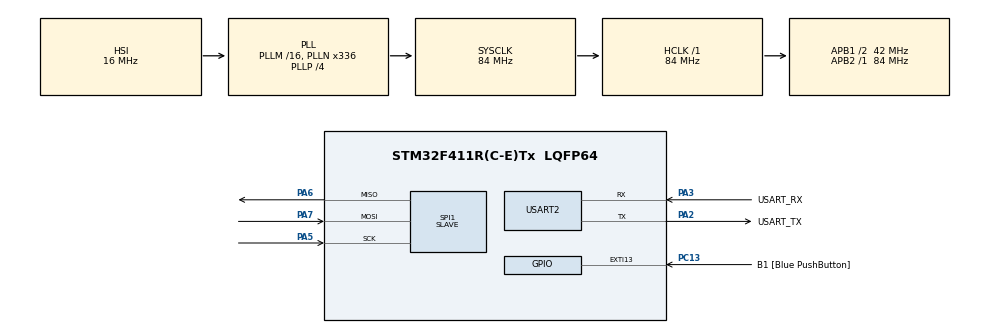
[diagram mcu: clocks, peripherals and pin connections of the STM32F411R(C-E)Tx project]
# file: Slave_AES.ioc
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Mcu.Family=STM32F4
Mcu.Name=STM32F411R(C-E)Tx
Mcu.Package=LQFP64
NVIC.PriorityGroup=NVIC_PRIORITYGROUP_0
PA13.GPIO_Label=TMS
PA13.Mode=Serial_Wire
PA13.Signal=SYS_JTMS-SWDIO
PA14.GPIO_Label=TCK
PA14.Mode=Serial_Wire
PA14.Signal=SYS_JTCK-SWCLK
PA2.GPIO_Label=USART_TX
PA2.Mode=Asynchronous
PA2.Signal=USART2_TX
PA3.GPIO_Label=USART_RX
PA3.Mode=Asynchronous
PA3.Signal=USART2_RX
PA5.Mode=Full_Duplex_Slave
PA5.Signal=SPI1_SCK
PA6.Mode=Full_Duplex_Slave
PA6.Signal=SPI1_MISO
PA7.Mode=Full_Duplex_Slave
PA7.Signal=SPI1_MOSI
PB3.GPIO_Label=SWO
PB3.Signal=SYS_JTDO-SWO
PC13-ANTI_TAMP.GPIO_Label=B1 [Blue PushButton]
PC13-ANTI_TAMP.GPIO_ModeDefaultEXTI=GPIO_MODE_IT_FALLING
PC13-ANTI_TAMP.Signal=GPXTI13
PC14-OSC32_IN.Mode=LSE-External-Oscillator
PC14-OSC32_IN.Signal=RCC_OSC32_IN
PC15-OSC32_OUT.Mode=LSE-External-Oscillator
PC15-OSC32_OUT.Signal=RCC_OSC32_OUT
PH0\ -\ OSC_IN.Mode=HSE-External-Clock-Source
PH0\ -\ OSC_IN.Signal=RCC_OSC_IN
PH1\ -\ OSC_OUT.Mode=HSE-External-Clock-Source
PH1\ -\ OSC_OUT.Signal=RCC_OSC_OUT
ProjectManager.HeapSize=0x200
ProjectManager.StackSize=0x400
ProjectManager.TargetToolchain=EWARM V8.32
RCC.48MHZClocksFreq_Value=84000000
RCC.AHBFreq_Value=84000000
RCC.APB1CLKDivider=RCC_HCLK_DIV2
RCC.APB1Freq_Value=42000000
RCC.APB1TimFreq_Value=84000000
RCC.APB2Freq_Value=84000000
RCC.APB2TimFreq_Value=84000000
RCC.CortexFreq_Value=84000000
RCC.FLatency-AdvancedSettings=FLASH_LATENCY_2
RCC.HCLKFreq_Value=84000000
RCC.HSE_VALUE=8000000
RCC.HSI_VALUE=16000000
RCC.PLLN=336
RCC.PLLP=RCC_PLLP_DIV4
RCC.SYSCLKFreq_VALUE=84000000
RCC.SYSCLKSource=RCC_SYSCLKSOURCE_PLLCLK
RCC.VCOOutputFreq_Value=336000000
SPI1.Direction=SPI_DIRECTION_2LINES
SPI1.Mode=SPI_MODE_SLAVE
SPI1.VirtualType=VM_SLAVE
USART2.VirtualMode=VM_ASYNC
board=NUCLEO-F411RE

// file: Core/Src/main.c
/* USER CODE BEGIN Header */
/**
  ******************************************************************************
  * @file           : main.c
  * @brief          : Main program body
  ******************************************************************************
  * @attention
  *
  * Copyright (c) 2022 STMicroelectronics.
  * All rights reserved.
  *
  * This software is licensed under terms that can be found in the LICENSE file
  * in the root directory of this software component.
  * If no LICENSE file comes with this software, it is provided AS-IS.
  *
  ******************************************************************************
  */
/* USER CODE END Header */
#include "main.h"

/* USER CODE BEGIN Includes */
#include <stdio.h>
#include <stdlib.h>
#include <string.h>
/* USER CODE END Includes */

/* USER CODE BEGIN PTD */
#ifdef __GNUC__
  /* With GCC, small printf (option LD Linker->Libraries->Small printf
     set to 'Yes') calls __io_putchar() */
  #define PUTCHAR_PROTOTYPE int __io_putchar(int ch)
#else
  #define PUTCHAR_PROTOTYPE int fputc(int ch, FILE *f)
#endif /* __GNUC__ */

/* USER CODE END PTD */

/* USER CODE BEGIN PD */

static const unsigned char multGalois0x01[256] = {
0x0, 0x1, 0x2, 0x3, 0x4, 0x5, 0x6, 0x7, 0x8, 0x9, 0xa, 0xb, 0xc, 0xd, 0xe, 0xf,
0x10, 0x11, 0x12, 0x13, 0x14, 0x15, 0x16, 0x17, 0x18, 0x19, 0x1a, 0x1b, 0x1c, 0x1d, 0x1e, 0x1f,
0x20, 0x21, 0x22, 0x23, 0x24, 0x25, 0x26, 0x27, 0x28, 0x29, 0x2a, 0x2b, 0x2c, 0x2d, 0x2e, 0x2f,
0x30, 0x31, 0x32, 0x33, 0x34, 0x35, 0x36, 0x37, 0x38, 0x39, 0x3a, 0x3b, 0x3c, 0x3d, 0x3e, 0x3f,
0x40, 0x41, 0x42, 0x43, 0x44, 0x45, 0x46, 0x47, 0x48, 0x49, 0x4a, 0x4b, 0x4c, 0x4d, 0x4e, 0x4f,
0x50, 0x51, 0x52, 0x53, 0x54, 0x55, 0x56, 0x57, 0x58, 0x59, 0x5a, 0x5b, 0x5c, 0x5d, 0x5e, 0x5f,
0x60, 0x61, 0x62, 0x63, 0x64, 0x65, 0x66, 0x67, 0x68, 0x69, 0x6a, 0x6b, 0x6c, 0x6d, 0x6e, 0x6f,
0x70, 0x71, 0x72, 0x73, 0x74, 0x75, 0x76, 0x77, 0x78, 0x79, 0x7a, 0x7b, 0x7c, 0x7d, 0x7e, 0x7f,
0x80, 0x81, 0x82, 0x83, 0x84, 0x85, 0x86, 0x87, 0x88, 0x89, 0x8a, 0x8b, 0x8c, 0x8d, 0x8e, 0x8f,
0x90, 0x91, 0x92, 0x93, 0x94, 0x95, 0x96, 0x97, 0x98, 0x99, 0x9a, 0x9b, 0x9c, 0x9d, 0x9e, 0x9f,
0xa0, 0xa1, 0xa2, 0xa3, 0xa4, 0xa5, 0xa6, 0xa7, 0xa8, 0xa9, 0xaa, 0xab, 0xac, 0xad, 0xae, 0xaf,
0xb0, 0xb1, 0xb2, 0xb3, 0xb4, 0xb5, 0xb6, 0xb7, 0xb8, 0xb9, 0xba, 0xbb, 0xbc, 0xbd, 0xbe, 0xbf,
0xc0, 0xc1, 0xc2, 0xc3, 0xc4, 0xc5, 0xc6, 0xc7, 0xc8, 0xc9, 0xca, 0xcb, 0xcc, 0xcd, 0xce, 0xcf,
0xd0, 0xd1, 0xd2, 0xd3, 0xd4, 0xd5, 0xd6, 0xd7, 0xd8, 0xd9, 0xda, 0xdb, 0xdc, 0xdd, 0xde, 0xdf,
0xe0, 0xe1, 0xe2, 0xe3, 0xe4, 0xe5, 0xe6, 0xe7, 0xe8, 0xe9, 0xea, 0xeb, 0xec, 0xed, 0xee, 0xef,
0xf0, 0xf1, 0xf2, 0xf3, 0xf4, 0xf5, 0xf6, 0xf7, 0xf8, 0xf9, 0xfa, 0xfb, 0xfc, 0xfd, 0xfe, 0xff,
};

static const unsigned char multGalois0x02[256] = {
0x0, 0x2, 0x4, 0x6, 0x8, 0xa, 0xc, 0xe, 0x10, 0x12, 0x14, 0x16, 0x18, 0x1a, 0x1c, 0x1e,
0x20, 0x22, 0x24, 0x26, 0x28, 0x2a, 0x2c, 0x2e, 0x30, 0x32, 0x34, 0x36, 0x38, 0x3a, 0x3c, 0x3e,
0x40, 0x42, 0x44, 0x46, 0x48, 0x4a, 0x4c, 0x4e, 0x50, 0x52, 0x54, 0x56, 0x58, 0x5a, 0x5c, 0x5e,
0x60, 0x62, 0x64, 0x66, 0x68, 0x6a, 0x6c, 0x6e, 0x70, 0x72, 0x74, 0x76, 0x78, 0x7a, 0x7c, 0x7e,
0x80, 0x82, 0x84, 0x86, 0x88, 0x8a, 0x8c, 0x8e, 0x90, 0x92, 0x94, 0x96, 0x98, 0x9a, 0x9c, 0x9e,
0xa0, 0xa2, 0xa4, 0xa6, 0xa8, 0xaa, 0xac, 0xae, 0xb0, 0xb2, 0xb4, 0xb6, 0xb8, 0xba, 0xbc, 0xbe,
0xc0, 0xc2, 0xc4, 0xc6, 0xc8, 0xca, 0xcc, 0xce, 0xd0, 0xd2, 0xd4, 0xd6, 0xd8, 0xda, 0xdc, 0xde,
0xe0, 0xe2, 0xe4, 0xe6, 0xe8, 0xea, 0xec, 0xee, 0xf0, 0xf2, 0xf4, 0xf6, 0xf8, 0xfa, 0xfc, 0xfe,
0x1b, 0x19, 0x1f, 0x1d, 0x13, 0x11, 0x17, 0x15, 0xb, 0x9, 0xf, 0xd, 0x3, 0x1, 0x7, 0x5,
0x3b, 0x39, 0x3f, 0x3d, 0x33, 0x31, 0x37, 0x35, 0x2b, 0x29, 0x2f, 0x2d, 0x23, 0x21, 0x27, 0x25,
0x5b, 0x59, 0x5f, 0x5d, 0x53, 0x51, 0x57, 0x55, 0x4b, 0x49, 0x4f, 0x4d, 0x43, 0x41, 0x47, 0x45,
0x7b, 0x79, 0x7f, 0x7d, 0x73, 0x71, 0x77, 0x75, 0x6b, 0x69, 0x6f, 0x6d, 0x63, 0x61, 0x67, 0x65,
0x9b, 0x99, 0x9f, 0x9d, 0x93, 0x91, 0x97, 0x95, 0x8b, 0x89, 0x8f, 0x8d, 0x83, 0x81, 0x87, 0x85,
0xbb, 0xb9, 0xbf, 0xbd, 0xb3, 0xb1, 0xb7, 0xb5, 0xab, 0xa9, 0xaf, 0xad, 0xa3, 0xa1, 0xa7, 0xa5,
0xdb, 0xd9, 0xdf, 0xdd, 0xd3, 0xd1, 0xd7, 0xd5, 0xcb, 0xc9, 0xcf, 0xcd, 0xc3, 0xc1, 0xc7, 0xc5,
0xfb, 0xf9, 0xff, 0xfd, 0xf3, 0xf1, 0xf7, 0xf5, 0xeb, 0xe9, 0xef, 0xed, 0xe3, 0xe1, 0xe7, 0xe5,
};

static const unsigned char multGalois0x03[256] = {
0x0, 0x3, 0x6, 0x5, 0xc, 0xf, 0xa, 0x9, 0x18, 0x1b, 0x1e, 0x1d, 0x14, 0x17, 0x12, 0x11,
0x30, 0x33, 0x36, 0x35, 0x3c, 0x3f, 0x3a, 0x39, 0x28, 0x2b, 0x2e, 0x2d, 0x24, 0x27, 0x22, 0x21,
0x60, 0x63, 0x66, 0x65, 0x6c, 0x6f, 0x6a, 0x69, 0x78, 0x7b, 0x7e, 0x7d, 0x74, 0x77, 0x72, 0x71,
0x50, 0x53, 0x56, 0x55, 0x5c, 0x5f, 0x5a, 0x59, 0x48, 0x4b, 0x4e, 0x4d, 0x44, 0x47, 0x42, 0x41,
0xc0, 0xc3, 0xc6, 0xc5, 0xcc, 0xcf, 0xca, 0xc9, 0xd8, 0xdb, 0xde, 0xdd, 0xd4, 0xd7, 0xd2, 0xd1,
0xf0, 0xf3, 0xf6, 0xf5, 0xfc, 0xff, 0xfa, 0xf9, 0xe8, 0xeb, 0xee, 0xed, 0xe4, 0xe7, 0xe2, 0xe1,
0xa0, 0xa3, 0xa6, 0xa5, 0xac, 0xaf, 0xaa, 0xa9, 0xb8, 0xbb, 0xbe, 0xbd, 0xb4, 0xb7, 0xb2, 0xb1,
0x90, 0x93, 0x96, 0x95, 0x9c, 0x9f, 0x9a, 0x99, 0x88, 0x8b, 0x8e, 0x8d, 0x84, 0x87, 0x82, 0x81,
0x9b, 0x98, 0x9d, 0x9e, 0x97, 0x94, 0x91, 0x92, 0x83, 0x80, 0x85, 0x86, 0x8f, 0x8c, 0x89, 0x8a,
0xab, 0xa8, 0xad, 0xae, 0xa7, 0xa4, 0xa1, 0xa2, 0xb3, 0xb0, 0xb5, 0xb6, 0xbf, 0xbc, 0xb9, 0xba,
0xfb, 0xf8, 0xfd, 0xfe, 0xf7, 0xf4, 0xf1, 0xf2, 0xe3, 0xe0, 0xe5, 0xe6, 0xef, 0xec, 0xe9, 0xea,
0xcb, 0xc8, 0xcd, 0xce, 0xc7, 0xc4, 0xc1, 0xc2, 0xd3, 0xd0, 0xd5, 0xd6, 0xdf, 0xdc, 0xd9, 0xda,
0x5b, 0x58, 0x5d, 0x5e, 0x57, 0x54, 0x51, 0x52, 0x43, 0x40, 0x45, 0x46, 0x4f, 0x4c, 0x49, 0x4a,
0x6b, 0x68, 0x6d, 0x6e, 0x67, 0x64, 0x61, 0x62, 0x73, 0x70, 0x75, 0x76, 0x7f, 0x7c, 0x79, 0x7a,
0x3b, 0x38, 0x3d, 0x3e, 0x37, 0x34, 0x31, 0x32, 0x23, 0x20, 0x25, 0x26, 0x2f, 0x2c, 0x29, 0x2a,
0xb, 0x8, 0xd, 0xe, 0x7, 0x4, 0x1, 0x2, 0x13, 0x10, 0x15, 0x16, 0x1f, 0x1c, 0x19, 0x1a,
};

static const unsigned char sbox[256] = {
    0x63, 0x7c, 0x77, 0x7b, 0xf2, 0x6b, 0x6f, 0xc5, 0x30, 0x01, 0x67, 0x2b, 0xfe, 0xd7, 0xab, 0x76,
    0xca, 0x82, 0xc9, 0x7d, 0xfa, 0x59, 0x47, 0xf0, 0xad, 0xd4, 0xa2, 0xaf, 0x9c, 0xa4, 0x72, 0xc0,
    0xb7, 0xfd, 0x93, 0x26, 0x36, 0x3f, 0xf7, 0xcc, 0x34, 0xa5, 0xe5, 0xf1, 0x71, 0xd8, 0x31, 0x15,
    0x04, 0xc7, 0x23, 0xc3, 0x18, 0x96, 0x05, 0x9a, 0x07, 0x12, 0x80, 0xe2, 0xeb, 0x27, 0xb2, 0x75,
    0x09, 0x83, 0x2c, 0x1a, 0x1b, 0x6e, 0x5a, 0xa0, 0x52, 0x3b, 0xd6, 0xb3, 0x29, 0xe3, 0x2f, 0x84,
    0x53, 0xd1, 0x00, 0xed, 0x20, 0xfc, 0xb1, 0x5b, 0x6a, 0xcb, 0xbe, 0x39, 0x4a, 0x4c, 0x58, 0xcf,
    0xd0, 0xef, 0xaa, 0xfb, 0x43, 0x4d, 0x33, 0x85, 0x45, 0xf9, 0x02, 0x7f, 0x50, 0x3c, 0x9f, 0xa8,
    0x51, 0xa3, 0x40, 0x8f, 0x92, 0x9d, 0x38, 0xf5, 0xbc, 0xb6, 0xda, 0x21, 0x10, 0xff, 0xf3, 0xd2,
    0xcd, 0x0c, 0x13, 0xec, 0x5f, 0x97, 0x44, 0x17, 0xc4, 0xa7, 0x7e, 0x3d, 0x64, 0x5d, 0x19, 0x73,
    0x60, 0x81, 0x4f, 0xdc, 0x22, 0x2a, 0x90, 0x88, 0x46, 0xee, 0xb8, 0x14, 0xde, 0x5e, 0x0b, 0xdb,
    0xe0, 0x32, 0x3a, 0x0a, 0x49, 0x06, 0x24, 0x5c, 0xc2, 0xd3, 0xac, 0x62, 0x91, 0x95, 0xe4, 0x79,
    0xe7, 0xc8, 0x37, 0x6d, 0x8d, 0xd5, 0x4e, 0xa9, 0x6c, 0x56, 0xf4, 0xea, 0x65, 0x7a, 0xae, 0x08,
    0xba, 0x78, 0x25, 0x2e, 0x1c, 0xa6, 0xb4, 0xc6, 0xe8, 0xdd, 0x74, 0x1f, 0x4b, 0xbd, 0x8b, 0x8a,
    0x70, 0x3e, 0xb5, 0x66, 0x48, 0x03, 0xf6, 0x0e, 0x61, 0x35, 0x57, 0xb9, 0x86, 0xc1, 0x1d, 0x9e,
    0xe1, 0xf8, 0x98, 0x11, 0x69, 0xd9, 0x8e, 0x94, 0x9b, 0x1e, 0x87, 0xe9, 0xce, 0x55, 0x28, 0xdf,
    0x8c, 0xa1, 0x89, 0x0d, 0xbf, 0xe6, 0x42, 0x68, 0x41, 0x99, 0x2d, 0x0f, 0xb0, 0x54, 0xbb, 0x16
};

static const unsigned char rcon[11] = {
    0x8d, 0x01, 0x02, 0x04, 0x08, 0x10, 0x20, 0x40, 0x80, 0x1b, 0x36,
};

static unsigned char keyPrime[16]= {0x00, 0x01, 0x02, 0x03, 0x04, 0x05, 0x06, 0x07, 0x08, 0x09, 0x0a, 0x0b, 0x0c, 0x0d, 0x0e, 0x0f};

/* USER CODE END PD */

SPI_HandleTypeDef hspi1;

UART_HandleTypeDef huart2;

void SystemClock_Config(void);
static void MX_GPIO_Init(void);
static void MX_SPI1_Init(void);
static void MX_USART2_UART_Init(void);

/* USER CODE BEGIN 0 */

void print_key_16(unsigned char *keyW){ //debug function
    for(int i=0; i<16; i++){
        printf("%x", keyW[i]);
    }
    printf("\n");
}

unsigned char multGalois_opti2(unsigned char a, unsigned char b){
    switch(b){
        case 0x01: return multGalois0x01[a];
        case 0x02: return multGalois0x02[a];
        case 0x03: return multGalois0x03[a];
        default: printf("\n error in Galois mult: b=%x\n",b); exit(1); //catch errors
    }
}

void mixColumns_4(unsigned char * keyPart){ //multiply Galois matrix with vector keyPart
    unsigned char save[4]={keyPart[0], keyPart[1], keyPart[2], keyPart[3]}, mix[4]={0x02, 0x03, 0x01, 0x01}; //saves the part of the key to modify the key directly without losing data
    for (int i=0;i<4;i++){
        keyPart[0]=0;
        keyPart[1]=0;
        keyPart[2]=0;
        keyPart[3]=0;
    }
    for (int i=0;i<4;i++){ // consecutive multiplication of the part of the key
        keyPart[0]^=multGalois_opti2(save[i], mix[i]);
        keyPart[1]^=multGalois_opti2(save[i], mix[(i+3)%4]);
        keyPart[2]^=multGalois_opti2(save[i], mix[(i+2)%4]);
        keyPart[3]^=multGalois_opti2(save[i], mix[(i+1)%4]);
    }
}

void mixColumns_16(unsigned char *State){// multiply each 4bytes vector one by one with mixColumns_4
    unsigned char temp[4];
    for (int i=0; i<4; i++){
        for (int j=0; j<4; j++){
            temp[j]=State[i*4+j];
        }
        mixColumns_4(temp);
        for (int j=0; j<4; j++){
            State[i*4+j]=temp[j];
        }
    }
}

void rotate_key(unsigned char * keyPart){ //rotation on 4 bytes part of the key
    unsigned char temp=keyPart[0];
    for (int i=0; i<3; i++){
        keyPart[i]=keyPart[i+1];
    }
    keyPart[3]=temp;
}

void SBox_4(unsigned char *keyPart){ //Sbox for the key schedule
    for(int i=0; i<4; i++){
        keyPart[i]=sbox[keyPart[i]];
    }
}

void SBox_16(unsigned char *State){ //Sbox for the state
    for(int i=0; i<16; i++){
        State[i]=sbox[State[i]];
    }
}

void ShiftRows(unsigned char *State){ //Rotations for the state
    unsigned char temp1=State[1],temp2=State[2];
    State[1]=State[5]; State[5]=State[9]; State[9]=State[13]; State[13]=temp1;
    temp1=State[6]; State[2]=State[10]; State[6]=State[14]; State[10]=temp2; State[14]=temp1;
    temp1=State[15]; State[15]=State[11]; State[11]=State[7]; State[7]=State[3]; State[3]=temp1;
}

void RCon(unsigned char *keyPart, int i){ //Rcon operation for key schedule
    keyPart[0] ^= rcon[i];
}

void keySch(unsigned char *keyPart, int i){ //KEY SCHEDULE
    rotate_key(keyPart);
    SBox_4(keyPart);
    RCon(keyPart,i);
}

void AddRoundKey(unsigned char *a, unsigned char *b){ //modify a to a^b
    for (int i=0; i<16; i++){
        a[i] ^= b[i];
    }
}

void encodeAES(unsigned char *plainText, unsigned char *key){
	AddRoundKey(plainText, key);
	    for (int i=1;i<11;i++){
	        SBox_16(plainText);
	        ShiftRows(plainText);
	        if (i!=10){
	            mixColumns_16(plainText);
	        }
	        unsigned char save[4];
	        for (int k=0; k<4; k++){
	            save[k]=key[12+k];
	        }
	        keySch(save,i);  //ROUNDKEYS
	        for (int j=0; j<4; j++){
	            key[j]^= save[j];
	            key[4+j]^= key[j];
	            key[8+j]^= key[4+j];
	            key[12+j]^= key[8+j];
	        }
	        AddRoundKey(plainText,key);
	    }
}

/* USER CODE END 0 */

int main(void)
{
  /* USER CODE BEGIN 1 */
	unsigned char plainText[16];
	unsigned char tempKey[16];
  /* USER CODE END 1 */

  /* MCU Configuration--------------------------------------------------------*/

  /* Reset of all peripherals, Initializes the Flash interface and the Systick. */
  HAL_Init();

  /* Configure the system clock */
  SystemClock_Config();

  /* Initialize all configured peripherals */
  MX_GPIO_Init();
  MX_SPI1_Init();
  MX_USART2_UART_Init();
  /* USER CODE BEGIN 2 */
  printf("Starting SPI random Nb test.\n");
  /* USER CODE END 2 */

  /* Infinite loop */
  while (1)
  {
	  while(HAL_GPIO_ReadPin(GPIOC, GPIO_PIN_13)!=GPIO_PIN_RESET){
	  		  HAL_Delay(25);
	  	  }
	  	  printf("Reading data....\n");
	  	  HAL_SPI_Receive(&hspi1, plainText, 16,10000);
	  	  printf("plaintext recieved:\n");
	  	  print_key_16(plainText);
	  	  printf("decoding with key:\n");
	  	  for (int i=0; i<16; i++){
	  		   tempKey[i]=keyPrime[i];
	  	   }
	  	  printf(tempKey);
	  	  encodeAES(plainText, tempKey);
	  	  printf("Encoded text:\n");
	  	  print_key_16(plainText);
	  	  printf("Sending plaintext to master ...\n");
	  	  HAL_SPI_Transmit(&hspi1, plainText, 16, 10000);

	  	  while(HAL_GPIO_ReadPin(GPIOC, GPIO_PIN_13)!=GPIO_PIN_SET){
	  	  	HAL_Delay(25);
	  }
  }
}

void Hardfault_Handler(void){
	__BKPT();
	while(1);
}

void SystemClock_Config(void)
{
  RCC_OscInitTypeDef RCC_OscInitStruct = {0};
  RCC_ClkInitTypeDef RCC_ClkInitStruct = {0};

  /** Configure the main internal regulator output voltage
  */
  __HAL_RCC_PWR_CLK_ENABLE();
  __HAL_PWR_VOLTAGESCALING_CONFIG(PWR_REGULATOR_VOLTAGE_SCALE1);
  /** Initializes the RCC Oscillators according to the specified parameters
  * in the RCC_OscInitTypeDef structure.
  */
  RCC_OscInitStruct.OscillatorType = RCC_OSCILLATORTYPE_HSI;
  RCC_OscInitStruct.HSIState = RCC_HSI_ON;
  RCC_OscInitStruct.HSICalibrationValue = RCC_HSICALIBRATION_DEFAULT;
  RCC_OscInitStruct.PLL.PLLState = RCC_PLL_ON;
  RCC_OscInitStruct.PLL.PLLSource = RCC_PLLSOURCE_HSI;
  RCC_OscInitStruct.PLL.PLLM = 16;
  RCC_OscInitStruct.PLL.PLLN = 336;
  RCC_OscInitStruct.PLL.PLLP = RCC_PLLP_DIV4;
  RCC_OscInitStruct.PLL.PLLQ = 4;
  if (HAL_RCC_OscConfig(&RCC_OscInitStruct) != HAL_OK)
  {
    Error_Handler();
  }
  /** Initializes the CPU, AHB and APB buses clocks
  */
  RCC_ClkInitStruct.ClockType = RCC_CLOCKTYPE_HCLK|RCC_CLOCKTYPE_SYSCLK
                              |RCC_CLOCKTYPE_PCLK1|RCC_CLOCKTYPE_PCLK2;
  RCC_ClkInitStruct.SYSCLKSource = RCC_SYSCLKSOURCE_PLLCLK;
  RCC_ClkInitStruct.AHBCLKDivider = RCC_SYSCLK_DIV1;
  RCC_ClkInitStruct.APB1CLKDivider = RCC_HCLK_DIV2;
  RCC_ClkInitStruct.APB2CLKDivider = RCC_HCLK_DIV1;

  if (HAL_RCC_ClockConfig(&RCC_ClkInitStruct, FLASH_LATENCY_2) != HAL_OK)
  {
    Error_Handler();
  }
}

static void MX_SPI1_Init(void)
{

  /* SPI1 parameter configuration*/
  hspi1.Instance = SPI1;
  hspi1.Init.Mode = SPI_MODE_SLAVE;
  hspi1.Init.Direction = SPI_DIRECTION_2LINES;
  hspi1.Init.DataSize = SPI_DATASIZE_8BIT;
  hspi1.Init.CLKPolarity = SPI_POLARITY_LOW;
  hspi1.Init.CLKPhase = SPI_PHASE_1EDGE;
  hspi1.Init.NSS = SPI_NSS_SOFT;
  hspi1.Init.FirstBit = SPI_FIRSTBIT_MSB;
  hspi1.Init.TIMode = SPI_TIMODE_DISABLE;
  hspi1.Init.CRCCalculation = SPI_CRCCALCULATION_DISABLE;
  hspi1.Init.CRCPolynomial = 10;
  if (HAL_SPI_Init(&hspi1) != HAL_OK)
  {
    Error_Handler();
  }

}

static void MX_USART2_UART_Init(void)
{

  huart2.Instance = USART2;
  huart2.Init.BaudRate = 115200;
  huart2.Init.WordLength = UART_WORDLENGTH_8B;
  huart2.Init.StopBits = UART_STOPBITS_1;
  huart2.Init.Parity = UART_PARITY_NONE;
  huart2.Init.Mode = UART_MODE_TX_RX;
  huart2.Init.HwFlowCtl = UART_HWCONTROL_NONE;
  huart2.Init.OverSampling = UART_OVERSAMPLING_16;
  if (HAL_UART_Init(&huart2) != HAL_OK)
  {
    Error_Handler();
  }

}

static void MX_GPIO_Init(void)
{
  GPIO_InitTypeDef GPIO_InitStruct = {0};

  /* GPIO Ports Clock Enable */
  __HAL_RCC_GPIOC_CLK_ENABLE();
  __HAL_RCC_GPIOH_CLK_ENABLE();
  __HAL_RCC_GPIOA_CLK_ENABLE();
  __HAL_RCC_GPIOB_CLK_ENABLE();

  /*Configure GPIO pin : B1_Pin */
  GPIO_InitStruct.Pin = B1_Pin;
  GPIO_InitStruct.Mode = GPIO_MODE_IT_FALLING;
  GPIO_InitStruct.Pull = GPIO_NOPULL;
  HAL_GPIO_Init(B1_GPIO_Port, &GPIO_InitStruct);

}

/* USER CODE BEGIN 4 */
PUTCHAR_PROTOTYPE
{
  /* Place your implementation of fputc here */
  /* e.g. write a character to the EVAL_COM1 and Loop until the end of transmission */
  HAL_UART_Transmit(&huart2, (uint8_t *)&ch, 1, 0xFFFF);

  return ch;
}
/* USER CODE END 4 */

void Error_Handler(void)
{
  __disable_irq();
  while (1)
  {
  }
}
